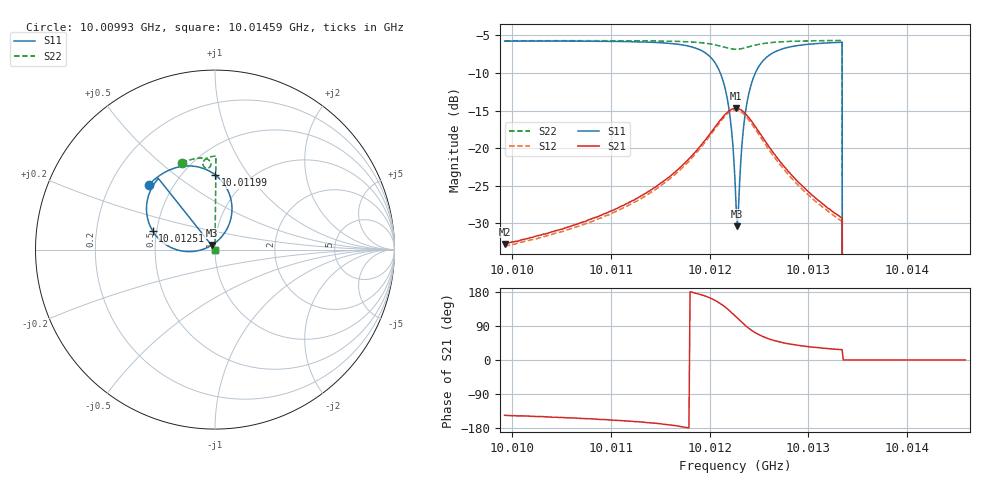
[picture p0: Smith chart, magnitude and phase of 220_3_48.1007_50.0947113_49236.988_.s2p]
#  HZ  S  RI  R  50.00
! Rohde & Schwarz Vector Network Analyzer
! Rohde-Schwarz,ZNB20-2Port,1311601062101988,3.16
! Created: UTC 12/23/2023, 3:56:40 AM
! freq[Hz]  re:S11  im:S11  re:S21  im:S21  re:S12  im:S12  re:S22  im:S22
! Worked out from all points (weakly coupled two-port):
!   401 points, 10.00993 GHz to 10.01459 GHz, reference 50 ohm
!   highest |S21| = -14.69 dB at 10.01227 GHz (marker M1); lowest = -32.7 dB at 10.00993 GHz (marker M2)
!   lowest |S11| = -30.4 dB at 10.01228 GHz (marker M3), VSWR 1.06, Z = 48.4 + j2.53 ohm
!   |S11| at or under -10 dB: 10.01211 GHz to 10.01246 GHz (354.6 kHz wide, 0.00354 % of centre); 10.01334 GHz to end of sweep
!   |S22| runs from - to -5.7 dB; largest |S21 - S12| = 0.0093
!   S11 on the Smith chart (normalised r, x): 10.00993 GHz: 0.37, +0.36; 10.01199 GHz: 0.71, +0.71; 10.01251 GHz: 0.48, +0.11; 10.01459 GHz: 1.00, +0.00
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1.0009927e10  -0.3701 0.3595  -0.0191 -0.013  -0.0178 -0.0134  -0.1863 0.484
1.0010707e10  -0.3145 0.4084  -0.0289 -0.0139  -0.0271 -0.0147  -0.1363 0.5011
1.0011488e10  -0.2084 0.4588  -0.0561 -0.012  -0.0533 -0.0142  -0.079 0.5106
1.0011814e10  -0.1017 0.4621  -0.0881 0.000926  -0.085 -0.00332  -0.0487 0.5067
1.0011989e10  0.00262 0.4151  -0.1171 0.0304  -0.1152 0.0231  -0.0303 0.4953
1.0012094e10  0.0737 0.3247  -0.1313 0.0717  -0.1317 0.0627  -0.0229 0.4804
1.0012164e10  0.0946 0.2192  -0.1271 0.112  -0.1287 0.1041  -0.0244 0.4668
1.0012222e10  0.0662 0.1139  -0.1043 0.1482  -0.1081 0.1406  -0.0325 0.4569
1.0012257e10  0.023 0.0565  -0.0819 0.165  -0.086 0.1579  -0.0401 0.4538
1.0012269e10  0.00464 0.0403  -0.0735 0.1689  -0.0775 0.1624  -0.0429 0.4534
1.001228e10  -0.0153 0.0261  -0.0646 0.1721  -0.0688 0.1656  -0.0458 0.4534
1.0012292e10  -0.0369 0.0139  -0.0555 0.1745  -0.06 0.1678  -0.0485 0.4536
1.0012339e10  -0.1271 -0.0107  -0.0198 0.1746  -0.0239 0.1687  -0.0582 0.4581
1.0012374e10  -0.1925 -0.00622  0.00449 0.1667  -0.000288 0.1613  -0.0634 0.4639
1.0012432e10  -0.2784 0.0308  0.0335 0.1452  0.0274 0.1405  -0.0671 0.4751
1.0012513e10  -0.3472 0.1039  0.0523 0.1127  0.0467 0.1093  -0.0648 0.4889
1.0012735e10  -0.3803 0.2544  0.0543 0.0564  0.0493 0.056  -0.0452 0.5089
1.0013038e10  -0.3493 0.3497  0.0404 0.0272  0.0371 0.0276  -0.0184 0.5181
1.0013317e10  -0.318 0.3939  0.031 0.0162  0.0287 0.017  0.0039 0.521
1.0013375e10  0 0  0 0  0 0  0 0
1.0013818e10  0 0  0 0  0 0  0 0
1.0014587e10  0 0  0 0  0 0  0 0
